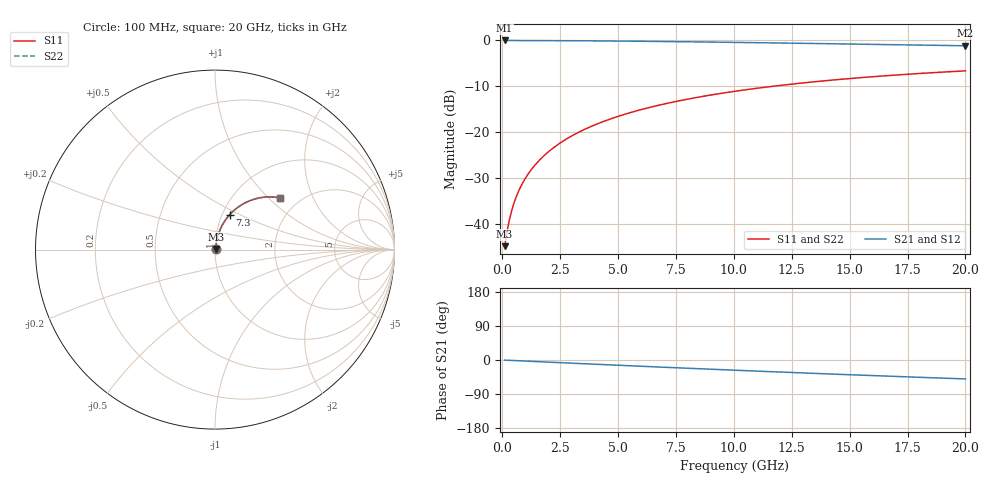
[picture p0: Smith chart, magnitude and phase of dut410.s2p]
! Touchstone file exported from HFSS 2026.1.0
!  File:  C:/ffzhzh/LocalFiles/Ansys_Project_Files/temp_train_BSMRDL_410_1783012507_51716.aedt
!  Generated:  01:16:32 AM Jul  3, 2026
!  Design:  BSMRDL
!  Project:  temp_train_BSMRDL_410_1783012507_51716
! Variables:
!  h_bsmrdl = 3.83um
!  h_ox = 20um
!  h_rdl = 5um
!  h_sub = 80um
!  h_tmrdl = 5um
!  h_tsv = 80um
!  h_via = 3um
!  l_bsmrdl = 748.76um
!  l_sub = 1148.76um
!  l_tmrdl = 200um
!  m_sub = 200um
!  pitch = 40.2um
!  r_tsv = 6um
!  s_tmrdl = 10um
!  w_bsmrdl = 15.13um
!  w_sub = 500um
!  w_tmrdl = 12um
!  x_tsv_center1 = 206um
!  x_tsv_center2 = 969.89um
!  x_tsv_center3 = 1181.89um
!  x_tsv_center4 = 1945.78um
!  x_tsv_center5 = 2157.78um
!  x_tsv_center6 = 2921.67um
# GHz S MA R 50.000000
! Terminal data exported
! Port[1] = BSM_RDL1_1_T1
! Port[2] = BSM_RDL1_1_T2
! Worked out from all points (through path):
!   200 points, 100 MHz to 20 GHz, reference 50 ohm
!   highest |S21| = -0.04 dB at 100 MHz (marker M1); lowest = -1.2 dB at 20 GHz (marker M2)
!   group delay of S21, straight-line fit = 6.94 ps
!   lowest |S11| = -44.9 dB at 100 MHz (marker M3), VSWR 1.01, Z = 50.5 + j0.327 ohm
!   |S11| at or under -10 dB: start of sweep to 11.74 GHz
!   |S22| runs from -44.9 to -6.7 dB; largest |S21 - S12| = 2.1e-15
!   S11 on the Smith chart (normalised r, x): 100 MHz: 1.01, +0.01; 7.3 GHz: 1.08, +0.44; 20 GHz: 1.61, +1.18
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0.1  0.005683 34.7  0.9953 -0.3  0.9953 -0.3  0.005683 34.7
! Gamma 0 0 0 0
! Port Impedance 50 0 50 0
0.2  0.008044 53.1  0.9952 -0.6  0.9952 -0.6  0.008044 53.1
0.3  0.01082 62.1  0.995 -0.9  0.995 -0.9  0.01082 62.1
0.4  0.0137 67.1  0.9948 -1.2  0.9948 -1.2  0.0137 67.1
0.5  0.01662 70.3  0.9947 -1.4  0.9947 -1.4  0.01662 70.3
0.6  0.01955 72.4  0.9945 -1.7  0.9945 -1.7  0.01955 72.4
0.8  0.02543 75.2  0.9942 -2.3  0.9942 -2.3  0.02543 75.2
1.1  0.03429 77.3  0.9938 -3.1  0.9938 -3.1  0.0343 77.3
1.3  0.04023 78.0  0.9935 -3.7  0.9935 -3.7  0.04023 78.0
1.6  0.04914 78.5  0.9929 -4.5  0.9929 -4.5  0.04915 78.5
2.1  0.064 78.5  0.9918 -5.9  0.9918 -5.9  0.064 78.5
2.7  0.08174 77.8  0.9901 -7.6  0.9901 -7.6  0.08174 77.8
3.5  0.1051 76.3  0.9874 -9.8  0.9874 -9.8  0.1051 76.3
4.2  0.1253 74.8  0.9845 -11.7  0.9845 -11.7  0.1253 74.8
5  0.1479 72.9  0.9807 -13.9  0.9807 -13.9  0.1479 72.9
6.8  0.1969 68.5  0.9706 -18.7  0.9706 -18.7  0.1969 68.5
7.3  0.21 67.3  0.9675 -20.0  0.9675 -20.0  0.21 67.2
8.6  0.243 64.1  0.9589 -23.3  0.9589 -23.3  0.243 64.0
10.1  0.2792 60.4  0.9482 -27.1  0.9482 -27.1  0.2792 60.4
13.4  0.3511 52.7  0.9228 -35.2  0.9228 -35.2  0.3511 52.6
16.7  0.4127 45.3  0.8965 -42.8  0.8965 -42.8  0.4127 45.2
20  0.464 38.4  0.8711 -49.9  0.8711 -49.9  0.464 38.2
